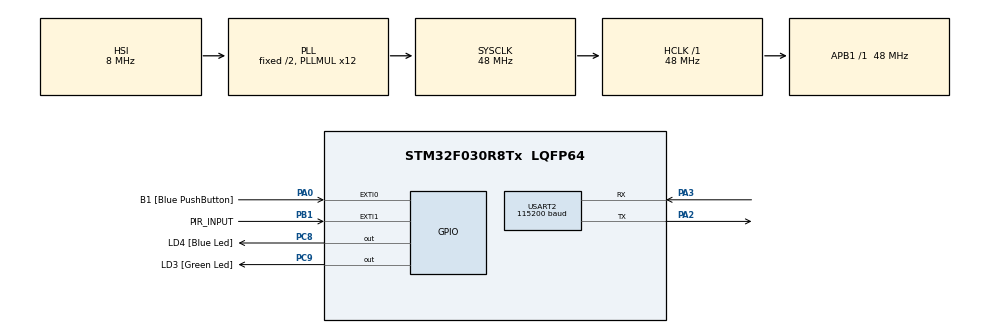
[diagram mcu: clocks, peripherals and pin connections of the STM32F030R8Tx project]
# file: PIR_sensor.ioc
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Mcu.Family=STM32F0
Mcu.Name=STM32F030R8Tx
Mcu.Package=LQFP64
NVIC.EXTI0_1_IRQn=true\:0\:0\:false\:false\:true\:true\:true
NVIC.USART2_IRQn=true\:0\:0\:false\:false\:true\:true\:true
PA0.GPIO_Label=B1 [Blue PushButton]
PA0.GPIO_ModeDefaultEXTI=GPIO_MODE_EVT_RISING
PA0.Signal=GPXTI0
PA13.GPIO_Label=SWDIO
PA13.Mode=Serial_Wire
PA13.Signal=SYS_SWDIO
PA14.GPIO_Label=SWCLK
PA14.Mode=Serial_Wire
PA14.Signal=SYS_SWCLK
PA2.Mode=Asynchronous
PA2.Signal=USART2_TX
PA3.Mode=Asynchronous
PA3.Signal=USART2_RX
PB1.GPIO_Label=PIR_INPUT
PB1.Signal=GPXTI1
PC8.GPIO_Label=LD4 [Blue Led]
PC8.Signal=GPIO_Output
PC9.GPIO_Label=LD3 [Green Led]
PC9.Signal=GPIO_Output
ProjectManager.HeapSize=0x200
ProjectManager.StackSize=0x400
ProjectManager.TargetToolchain=TrueSTUDIO
RCC.AHBFreq_Value=48000000
RCC.APB1Freq_Value=48000000
RCC.APB1TimFreq_Value=48000000
RCC.HCLKFreq_Value=48000000
RCC.PLLMUL=RCC_PLL_MUL12
RCC.SYSCLKFreq_VALUE=48000000
RCC.SYSCLKSource=RCC_SYSCLKSOURCE_PLLCLK
USART2.BaudRate=115200
USART2.VirtualMode-Asynchronous=VM_ASYNC
VP_TIM6_VS_ClockSourceINT.Mode=Enable_Timer
board=32F0308DISCOVERY

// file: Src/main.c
/* USER CODE BEGIN Header */
/**
  ******************************************************************************
  * @file           : main.c
  * @brief          : Main program body
  ******************************************************************************
  * @attention
  *
  * <h2><center>&copy; Copyright (c) 2020 STMicroelectronics.
  * All rights reserved.</center></h2>
  *
  * This software component is licensed by ST under BSD 3-Clause license,
  * the "License"; You may not use this file except in compliance with the
  * License. You may obtain a copy of the License at:
  *                        opensource.org/licenses/BSD-3-Clause
  *
  ******************************************************************************
  */
/* USER CODE END Header */

#include "main.h"
#include <stdbool.h>

TIM_HandleTypeDef htim6;

UART_HandleTypeDef huart2;

/* USER CODE BEGIN PV */
uint8_t pir_event;
/* USER CODE END PV */

void SystemClock_Config(void);
static void MX_GPIO_Init(void);
static void MX_TIM6_Init(void);
static void MX_USART2_UART_Init(void);

/* USER CODE BEGIN 0 */
void HAL_GPIO_EXTI_Callback(uint16_t GPIO_Pin){
	if(GPIO_Pin == PIR_INPUT_Pin){
		pir_event = true;
	}
}

/* USER CODE END 0 */

int main(void)
{

  /* MCU Configuration--------------------------------------------------------*/

  /* Reset of all peripherals, Initializes the Flash interface and the Systick. */
  HAL_Init();

  /* Configure the system clock */
  SystemClock_Config();

  /* Initialize all configured peripherals */
  MX_GPIO_Init();
  MX_TIM6_Init();
  MX_USART2_UART_Init();
  /* USER CODE BEGIN 2 */

//  HAL_TIM_IC_Start_IT(&htim1, TIM_CHANNEL_1);
#ifdef PIR_POLLING
HAL_NVIC_DisableIRQ(EXTI0_1_IRQn);
#endif
  /* USER CODE END 2 */

  /* Infinite loop */
  while (1)
  {

    /* USER CODE BEGIN 3 */
/*
this code is just for testing purposes , a real application migth have
a different approach
*/
#ifdef PIR_POLLING
    if (PIR_INPUT_GPIO_Port->IDR & PIR_INPUT_Pin ){
	    LD3_GPIO_Port->ODR |=LD3_Pin;
    }else{
	    LD3_GPIO_Port->ODR &=~LD3_Pin;
    }

#else
	if (pir_event){
		pir_event = false;
		LD3_GPIO_Port->ODR |=LD3_Pin;
		while (PIR_INPUT_GPIO_Port->IDR & PIR_INPUT_Pin); //need timeout
		//printf("pir sensor event\r\n");
	}else{
		LD3_GPIO_Port->ODR &=~LD3_Pin;
	}

#endif
  }
  /* USER CODE END 3 */
}

void SystemClock_Config(void)
{
  RCC_OscInitTypeDef RCC_OscInitStruct = {0};
  RCC_ClkInitTypeDef RCC_ClkInitStruct = {0};

  /** Initializes the CPU, AHB and APB busses clocks
  */
  RCC_OscInitStruct.OscillatorType = RCC_OSCILLATORTYPE_HSI;
  RCC_OscInitStruct.HSIState = RCC_HSI_ON;
  RCC_OscInitStruct.HSICalibrationValue = RCC_HSICALIBRATION_DEFAULT;
  RCC_OscInitStruct.PLL.PLLState = RCC_PLL_ON;
  RCC_OscInitStruct.PLL.PLLSource = RCC_PLLSOURCE_HSI;
  RCC_OscInitStruct.PLL.PLLMUL = RCC_PLL_MUL12;
  RCC_OscInitStruct.PLL.PREDIV = RCC_PREDIV_DIV1;
  if (HAL_RCC_OscConfig(&RCC_OscInitStruct) != HAL_OK)
  {
    Error_Handler();
  }
  /** Initializes the CPU, AHB and APB busses clocks
  */
  RCC_ClkInitStruct.ClockType = RCC_CLOCKTYPE_HCLK|RCC_CLOCKTYPE_SYSCLK
                              |RCC_CLOCKTYPE_PCLK1;
  RCC_ClkInitStruct.SYSCLKSource = RCC_SYSCLKSOURCE_PLLCLK;
  RCC_ClkInitStruct.AHBCLKDivider = RCC_SYSCLK_DIV1;
  RCC_ClkInitStruct.APB1CLKDivider = RCC_HCLK_DIV1;

  if (HAL_RCC_ClockConfig(&RCC_ClkInitStruct, FLASH_LATENCY_1) != HAL_OK)
  {
    Error_Handler();
  }
}

static void MX_TIM6_Init(void)
{

  htim6.Instance = TIM6;
  htim6.Init.Prescaler = 0;
  htim6.Init.CounterMode = TIM_COUNTERMODE_UP;
  htim6.Init.Period = 0;
  htim6.Init.AutoReloadPreload = TIM_AUTORELOAD_PRELOAD_DISABLE;
  if (HAL_TIM_Base_Init(&htim6) != HAL_OK)
  {
    Error_Handler();
  }

}

static void MX_USART2_UART_Init(void)
{

  huart2.Instance = USART2;
  huart2.Init.BaudRate = 115200;
  huart2.Init.WordLength = UART_WORDLENGTH_8B;
  huart2.Init.StopBits = UART_STOPBITS_1;
  huart2.Init.Parity = UART_PARITY_NONE;
  huart2.Init.Mode = UART_MODE_TX_RX;
  huart2.Init.HwFlowCtl = UART_HWCONTROL_NONE;
  huart2.Init.OverSampling = UART_OVERSAMPLING_16;
  huart2.Init.OneBitSampling = UART_ONE_BIT_SAMPLE_DISABLE;
  huart2.AdvancedInit.AdvFeatureInit = UART_ADVFEATURE_NO_INIT;
  if (HAL_UART_Init(&huart2) != HAL_OK)
  {
    Error_Handler();
  }

}

static void MX_GPIO_Init(void)
{
  GPIO_InitTypeDef GPIO_InitStruct = {0};

  /* GPIO Ports Clock Enable */
  __HAL_RCC_GPIOA_CLK_ENABLE();
  __HAL_RCC_GPIOB_CLK_ENABLE();
  __HAL_RCC_GPIOC_CLK_ENABLE();

  /*Configure GPIO pin Output Level */
  HAL_GPIO_WritePin(GPIOC, LD4_Pin|LD3_Pin, GPIO_PIN_RESET);

  /*Configure GPIO pin : B1_Pin */
  GPIO_InitStruct.Pin = B1_Pin;
  GPIO_InitStruct.Mode = GPIO_MODE_EVT_RISING;
  GPIO_InitStruct.Pull = GPIO_NOPULL;
  HAL_GPIO_Init(B1_GPIO_Port, &GPIO_InitStruct);

  /*Configure GPIO pin : PIR_INPUT_Pin */
  GPIO_InitStruct.Pin = PIR_INPUT_Pin;
  GPIO_InitStruct.Mode = GPIO_MODE_IT_RISING;
  GPIO_InitStruct.Pull = GPIO_NOPULL;
  HAL_GPIO_Init(PIR_INPUT_GPIO_Port, &GPIO_InitStruct);

  /*Configure GPIO pins : LD4_Pin LD3_Pin */
  GPIO_InitStruct.Pin = LD4_Pin|LD3_Pin;
  GPIO_InitStruct.Mode = GPIO_MODE_OUTPUT_PP;
  GPIO_InitStruct.Pull = GPIO_NOPULL;
  GPIO_InitStruct.Speed = GPIO_SPEED_FREQ_LOW;
  HAL_GPIO_Init(GPIOC, &GPIO_InitStruct);

  /* EXTI interrupt init*/
  HAL_NVIC_SetPriority(EXTI0_1_IRQn, 0, 0);
  HAL_NVIC_EnableIRQ(EXTI0_1_IRQn);

}

void Error_Handler(void)
{
}

/************************ (C) COPYRIGHT STMicroelectronics *****END OF FILE****/
